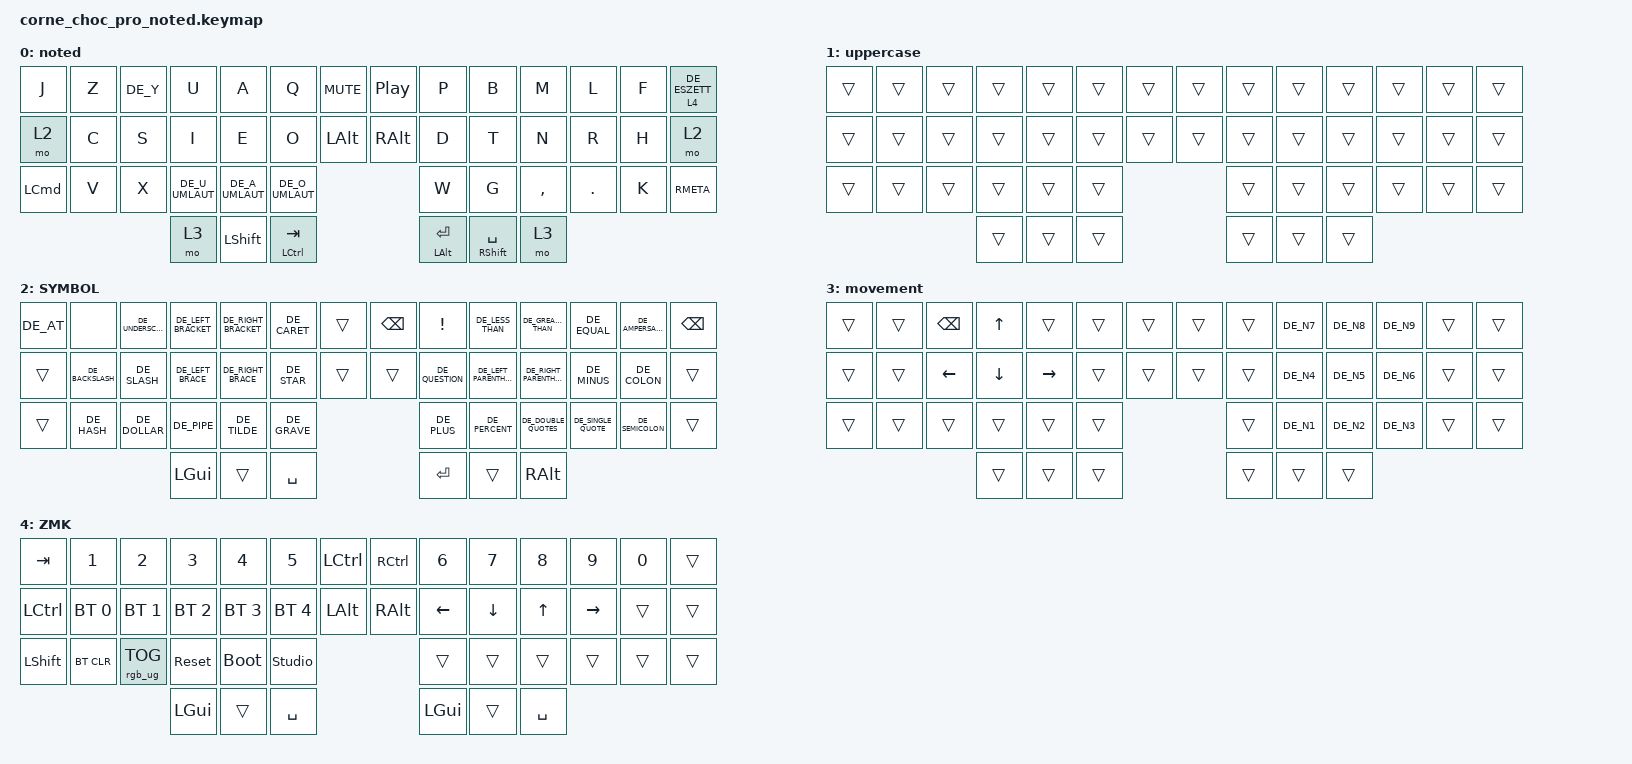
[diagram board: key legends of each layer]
/*
 * Copyright (c) 2020 The ZMK Contributors
 *
 * SPDX-License-Identifier: MIT
 */

#include "keys_de.h"
#include <behaviors.dtsi>
#include <dt-bindings/zmk/bt.h>
#include <dt-bindings/zmk/keys.h>
#include <dt-bindings/zmk/rgb.h>

/ {
    chosen { zmk,physical-layout = &default_layout; };
};

/ {
    keymap {
        compatible = "zmk,keymap";

        default {
            display-name = "noted";
            bindings = <
&kp J     &kp Z  &kp DE_Y  &kp U            &kp A            &kp Q            &kp C_MUTE  &kp C_PP  &kp P             &kp B                  &kp M      &kp L    &kp F  &lt 4 DE_ESZETT
&mo 2     &kp C  &kp S     &kp I            &kp E            &kp O            &kp LALT    &kp RALT  &kp D             &kp T                  &kp N      &kp R    &kp H  &mo 2
&kp LCMD  &kp V  &kp X     &kp DE_U_UMLAUT  &kp DE_A_UMLAUT  &kp DE_O_UMLAUT                        &kp W             &kp G                  &kp COMMA  &kp DOT  &kp K  &kp RMETA
                           &mo 3            &kp LEFT_SHIFT   &mt LCTRL TAB                          &mt LEFT_ALT RET  &mt RIGHT_SHIFT SPACE  &mo 3
            >;
        };

        uppercase {
            bindings = <
&trans  &trans  &trans  &trans  &trans  &trans  &trans  &trans  &trans  &trans  &trans  &trans  &trans  &trans
&trans  &trans  &trans  &trans  &trans  &trans  &trans  &trans  &trans  &trans  &trans  &trans  &trans  &trans
&trans  &trans  &trans  &trans  &trans  &trans                  &trans  &trans  &trans  &trans  &trans  &trans
                        &trans  &trans  &trans                  &trans  &trans  &trans
            >;
        };

        symbols {
            display-name = "SYMBOL";
            bindings = <
&kp DE_AT  &none             &kp DE_UNDERSCORE  &kp DE_LEFT_BRACKET  &kp DE_RIGHT_BRACKET  &kp DE_CARET  &trans  &kp BACKSPACE  &kp EXCLAMATION  &kp DE_LESS_THAN         &kp DE_GREATER_THAN       &kp DE_EQUAL         &kp DE_AMPERSAND  &kp BSPC
&trans     &kp DE_BACKSLASH  &kp DE_SLASH       &kp DE_LEFT_BRACE    &kp DE_RIGHT_BRACE    &kp DE_STAR   &trans  &trans         &kp DE_QUESTION  &kp DE_LEFT_PARENTHESIS  &kp DE_RIGHT_PARENTHESIS  &kp DE_MINUS         &kp DE_COLON      &trans
&trans     &kp DE_HASH       &kp DE_DOLLAR      &kp DE_PIPE          &kp DE_TILDE          &kp DE_GRAVE                         &kp DE_PLUS      &kp DE_PERCENT           &kp DE_DOUBLE_QUOTES      &kp DE_SINGLE_QUOTE  &kp DE_SEMICOLON  &trans
                                                &kp LGUI             &trans                &kp SPACE                            &kp RET          &trans                   &kp RALT
            >;
        };

        movement {
            bindings = <
&trans  &trans  &kp BACKSPACE  &kp UP    &trans     &trans  &trans  &trans  &trans  &kp DE_N7  &kp DE_N8  &kp DE_N9  &trans  &trans
&trans  &trans  &kp LEFT       &kp DOWN  &kp RIGHT  &trans  &trans  &trans  &trans  &kp DE_N4  &kp DE_N5  &kp DE_N6  &trans  &trans
&trans  &trans  &trans         &trans    &trans     &trans                  &trans  &kp DE_N1  &kp DE_N2  &kp DE_N3  &trans  &trans
                               &trans    &trans     &trans                  &trans  &trans     &trans
            >;
        };

        zmk_layer_3 {
            display-name = "ZMK";
            bindings = <
&kp TAB    &kp N1        &kp N2           &kp N3        &kp N4        &kp N5          &kp LCTRL  &kp RCTRL  &kp N6    &kp N7    &kp N8     &kp N9     &kp N0  &trans
&kp LCTRL  &bt BT_SEL 0  &bt BT_SEL 1     &bt BT_SEL 2  &bt BT_SEL 3  &bt BT_SEL 4    &kp LALT   &kp RALT   &kp LEFT  &kp DOWN  &kp UP     &kp RIGHT  &trans  &trans
&kp LSHFT  &bt BT_CLR    &rgb_ug RGB_TOG  &sys_reset    &bootloader   &studio_unlock                        &trans    &trans    &trans     &trans     &trans  &trans
                                          &kp LGUI      &trans        &kp SPACE                             &kp LGUI  &trans    &kp SPACE
            >;
        };
    };
};
